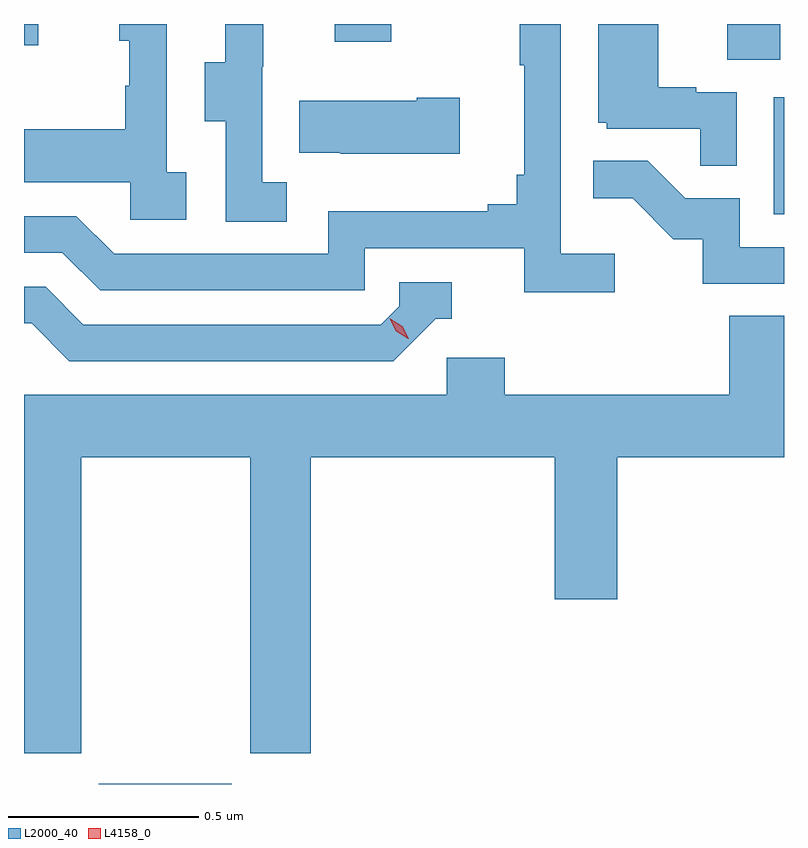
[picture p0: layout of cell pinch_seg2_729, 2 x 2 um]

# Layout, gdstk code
import gdstk
lib = gdstk.Library(unit=1e-6, precision=1e-09)
def R(c, l, rs):  # rectangles x0, y0, x1, y1
    for r in rs: c.add(gdstk.rectangle(r[:2], r[2:], *l))
def P(c, l, *ps):  # polygons
    for p in ps: c.add(gdstk.Polygon(p, *l))
L2000_40 = (2000, 40)
L4158_0 = (4158, 0)

pinch_seg2_729 = lib.new_cell('pinch_seg2_729')
R(pinch_seg2_729, L2000_40, [(1134.836,585.504,1135.186,585.505), (1136.612,587.004,1136.639,587.311), (1136.489,587.41,1136.629,587.504), (1134.639,587.448,1134.677,587.504), (1135.457,587.457,1135.605,587.504)])
P(pinch_seg2_729, L2000_40, [(1135.066,587.114),(1135.014,587.114),(1135.014,587.504),(1134.89,587.504),(1134.89,587.46),(1134.916,587.46),(1134.916,587.342),(1134.906,587.342),(1134.906,587.227),(1134.639,587.227),(1134.639,587.087),(1134.918,587.087),(1134.918,586.989),(1135.066,586.989)],
  [(1135.33,587.087),(1135.266,587.087),(1135.266,587.391),(1135.268,587.391),(1135.268,587.504),(1135.169,587.504),(1135.169,587.403),(1135.115,587.403),(1135.115,587.248),(1135.17,587.248),(1135.17,586.984),(1135.33,586.984)],
  [(1136.194,586.9),(1136.052,586.9),(1136.052,587.504),(1135.944,587.504),(1135.944,587.395),(1135.955,587.395),(1135.955,587.107),(1135.936,587.107),(1135.936,587.03),(1135.859,587.03),(1135.859,587.011),(1135.44,587.011),(1135.44,586.899),(1134.876,586.899),(1134.777,586.998),(1134.639,586.998),(1134.639,586.902),(1134.74,586.902),(1134.839,586.803),(1135.536,586.803),(1135.536,586.914),(1135.955,586.914),(1135.955,586.798),(1136.194,586.798)],
  [(1136.514,587.325),(1136.408,587.325),(1136.408,587.338),(1136.308,587.338),(1136.308,587.504),(1136.15,587.504),(1136.15,587.244),(1136.172,587.244),(1136.172,587.229),(1136.419,587.229),(1136.419,587.131),(1136.514,587.131)],
  [(1135.786,587.31),(1135.673,587.31),(1135.673,587.302),(1135.363,587.302),(1135.363,587.165),(1135.471,587.165),(1135.471,587.162),(1135.786,587.162)],
  [(1136.639,586.917),(1136.523,586.917),(1136.523,587.046),(1136.379,587.046),(1136.281,587.144),(1136.137,587.144),(1136.137,587.045),(1136.241,587.045),(1136.348,586.938),(1136.425,586.938),(1136.425,586.821),(1136.639,586.821)],
  [(1135.722,586.728),(1135.765,586.728),(1135.765,586.824),(1135.626,586.824),(1135.626,586.761),(1135.578,586.713),(1134.795,586.713),(1134.696,586.812),(1134.639,586.812),(1134.639,586.716),(1134.659,586.716),(1134.758,586.617),(1135.611,586.617)],
  [(1134.789,586.364),(1135.234,586.364),(1135.234,585.585),(1135.394,585.585),(1135.394,586.364),(1136.036,586.364),(1136.036,585.99),(1136.2,585.99),(1136.2,586.364),(1136.639,586.364),(1136.639,586.736),(1136.495,586.736),(1136.495,586.528),(1135.904,586.528),(1135.904,586.626),(1135.752,586.626),(1135.752,586.528),(1134.639,586.528),(1134.639,585.585),(1134.789,585.585)])
P(pinch_seg2_729, L4158_0, [(1135.65,586.676),(1135.619,586.695),(1135.602,586.728),(1135.602,586.728),(1135.603,586.728),(1135.634,586.709),(1135.651,586.676),(1135.651,586.676)])

lib.write_gds('pinch_seg2_729.gds')
